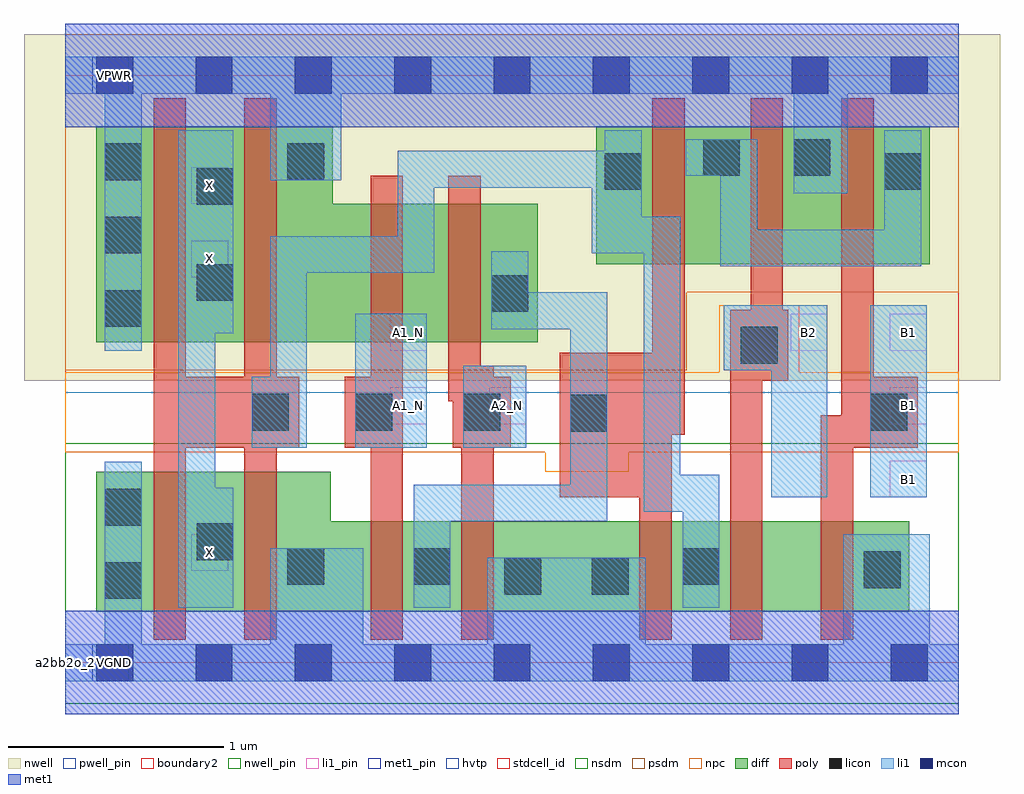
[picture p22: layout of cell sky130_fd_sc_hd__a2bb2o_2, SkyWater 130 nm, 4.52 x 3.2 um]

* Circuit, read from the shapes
.subckt sky130_fd_sc_hd__a2bb2o_2 A1_N A2_N B1 B2 VGND VNB VPB VPWR X
XM1 X n1 VGND VNB sky130_fd_pr__nfet_01v8 w=0.65 l=0.15 m=2
XM2 n2 A1_N VGND VNB sky130_fd_pr__nfet_01v8 w=0.42 l=0.15
XM3 VGND A2_N n2 VNB sky130_fd_pr__nfet_01v8 w=0.42 l=0.15
XM4 n1 n2 VGND VNB sky130_fd_pr__nfet_01v8 w=0.42 l=0.15
XM5 n3 B2 n1 VNB sky130_fd_pr__nfet_01v8 w=0.42 l=0.15
XM6 VGND B1 n3 VNB sky130_fd_pr__nfet_01v8 w=0.42 l=0.15
XM7 X n1 VPWR VPB sky130_fd_pr__pfet_01v8_hvt w=1 l=0.15 m=2
XM8 n4 A1_N VPWR VPB sky130_fd_pr__pfet_01v8_hvt w=0.64 l=0.15
XM9 n2 A2_N n4 VPB sky130_fd_pr__pfet_01v8_hvt w=0.64 l=0.15
XM10 n5 n2 n1 VPB sky130_fd_pr__pfet_01v8_hvt w=0.64 l=0.15
XM11 VPWR B2 n5 VPB sky130_fd_pr__pfet_01v8_hvt w=0.64 l=0.15
XM12 n5 B1 VPWR VPB sky130_fd_pr__pfet_01v8_hvt w=0.64 l=0.15
.ends

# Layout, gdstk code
import gdstk
lib = gdstk.Library(unit=1e-6, precision=1e-09)
def R(c, l, rs):  # rectangles x0, y0, x1, y1
    for r in rs: c.add(gdstk.rectangle(r[:2], r[2:], *l))
def A(c, l, x, y, w, h, nx, ny, dx, dy):  # array of equal rectangles
    R(c, l, [(x+i*dx, y+j*dy, x+i*dx+w, y+j*dy+h) for i in range(nx) for j in range(ny)])
def P(c, l, *ps):  # polygons
    for p in ps: c.add(gdstk.Polygon(p, *l))
nwell_pin = (64, 16)
nwell = (64, 20)
diff = (65, 20)
poly = (66, 20)
licon = (66, 44)
li1_pin = (67, 16)
li1 = (67, 20)
mcon = (67, 44)
met1_pin = (68, 16)
met1 = (68, 20)
hvtp = (78, 44)
stdcell_id = (81, 4)
nsdm = (93, 44)
psdm = (94, 20)
npc = (95, 20)
pwell_pin = (122, 16)
boundary2 = (236, 0)

sky130_fd_sc_hd__a2bb2o_ = lib.new_cell('sky130_fd_sc_hd__a2bb2o_2')
R(sky130_fd_sc_hd__a2bb2o_, nwell_pin, [(0.125,2.635,0.295,2.805)])
R(sky130_fd_sc_hd__a2bb2o_, nwell, [(-0.19,1.305,4.33,2.91)])
R(sky130_fd_sc_hd__a2bb2o_, diff, [(2.46,1.845,4.005,2.485)])
P(sky130_fd_sc_hd__a2bb2o_, diff, [(0.145,1.485),(0.145,2.485),(1.24,2.485),(1.24,2.125),(2.19,2.125),(2.19,1.485)],
  [(0.145,0.235),(0.145,0.885),(1.23,0.885),(1.23,0.655),(3.91,0.655),(3.91,0.235)])
R(sky130_fd_sc_hd__a2bb2o_, poly, [(2.72,1.055,2.87,2.615)])
P(sky130_fd_sc_hd__a2bb2o_, poly, [(2.66,0.105),(2.66,0.765),(2.29,0.765),(2.29,1.435),(2.81,1.435),(2.81,0.105)],
  [(0.41,0.105),(0.41,2.615),(0.56,2.615),(0.56,1.325),(0.83,1.325),(0.83,2.615),(0.98,2.615),(0.98,1.325),(1.085,1.325),(1.085,0.995),(0.98,0.995),(0.98,0.105),(0.83,0.105),(0.83,0.995),(0.56,0.995),(0.56,0.105)],
  [(3.5,0.105),(3.5,1.145),(3.595,1.145),(3.595,2.615),(3.745,2.615),(3.745,1.325),(3.95,1.325),(3.95,0.995),(3.65,0.995),(3.65,0.105)],
  [(3.08,0.105),(3.08,1.635),(3.175,1.635),(3.175,2.615),(3.325,2.615),(3.325,1.635),(3.35,1.635),(3.35,1.305),(3.23,1.305),(3.23,0.105)],
  [(1.835,0.105),(1.835,0.995),(1.795,0.995),(1.795,1.21),(1.775,1.21),(1.775,2.255),(1.925,2.255),(1.925,1.375),(1.985,1.375),(1.985,1.325),(2.065,1.325),(2.065,0.995),(1.985,0.995),(1.985,0.105)],
  [(1.415,0.105),(1.415,0.995),(1.295,0.995),(1.295,1.325),(1.415,1.325),(1.415,2.255),(1.565,2.255),(1.565,0.105)])
A(sky130_fd_sc_hd__a2bb2o_, licon, 0.185, 1.555, 0.17, 0.17, 1, 3, 0, 0.34)
R(sky130_fd_sc_hd__a2bb2o_, licon, [(0.185,0.295,0.355,0.465), (2.035,0.315,2.205,0.485), (2.44,0.315,2.61,0.485), (3.7,0.345,3.87,0.515), (1.03,0.36,1.2,0.53), (1.615,0.36,1.785,0.53), (2.86,0.36,3.03,0.53), (0.61,0.475,0.78,0.645), (0.185,0.635,0.355,0.805), (2.34,1.07,2.51,1.24), (0.865,1.075,1.035,1.245), (1.345,1.075,1.515,1.245), (1.845,1.075,2.015,1.245), (3.73,1.075,3.9,1.245), (3.13,1.385,3.3,1.555), (1.975,1.625,2.145,1.795), (0.61,1.675,0.78,1.845), (0.61,2.12,0.78,2.29), (2.5,2.19,2.67,2.36), (3.795,2.19,3.965,2.36), (1.03,2.235,1.2,2.405), (2.955,2.255,3.125,2.425), (3.375,2.255,3.545,2.425)])
A(sky130_fd_sc_hd__a2bb2o_, li1_pin, 3.82, 0.765, 0.17, 0.17, 1, 3, 0, 0.34)
R(sky130_fd_sc_hd__a2bb2o_, li1_pin, [(0.125,-0.085,0.295,0.085), (0.585,0.425,0.755,0.595), (1.505,1.105,1.675,1.275), (1.965,1.105,2.135,1.275), (1.505,1.445,1.675,1.615), (3.36,1.445,3.53,1.615), (0.585,1.785,0.755,1.955), (0.585,2.125,0.755,2.295), (0.125,2.635,0.295,2.805)])
R(sky130_fd_sc_hd__a2bb2o_, li1, [(3.73,0.765,3.99,1.655), (1.345,0.995,1.675,1.615), (1.845,0.995,2.135,1.375)])
P(sky130_fd_sc_hd__a2bb2o_, li1, [(0,-0.085),(0,0.085),(0.185,0.085),(0.185,0.93),(0.355,0.93),(0.355,0.085),(0.95,0.085),(0.95,0.53),(1.38,0.53),(1.38,0.085),(1.955,0.085),(1.955,0.485),(2.69,0.485),(2.69,0.085),(3.605,0.085),(3.605,0.595),(4.005,0.595),(4.005,0.085),(4.14,0.085),(4.14,-0.085)],
  [(0.185,1.445),(0.185,2.635),(0,2.635),(0,2.805),(4.14,2.805),(4.14,2.635),(3.625,2.635),(3.625,2.175),(3.375,2.175),(3.375,2.635),(1.28,2.635),(1.28,2.235),(0.95,2.235),(0.95,2.635),(0.355,2.635),(0.355,1.445)],
  [(3.035,1.835),(3.035,2.255),(2.875,2.255),(2.875,2.425),(3.205,2.425),(3.205,2.005),(3.795,2.005),(3.795,2.465),(3.965,2.465),(3.965,1.835)],
  [(2.86,0.255),(2.86,0.7),(2.68,0.7),(2.68,1.895),(2.44,1.895),(2.44,2.2),(1.71,2.2),(1.71,1.805),(1.12,1.805),(1.12,0.995),(0.865,0.995),(0.865,1.325),(0.95,1.325),(0.95,1.975),(1.54,1.975),(1.54,2.37),(2.5,2.37),(2.5,2.465),(2.67,2.465),(2.67,2.065),(2.85,2.065),(2.85,0.87),(3.03,0.87),(3.03,0.255)],
  [(1.615,0.255),(1.615,0.825),(2.34,0.825),(2.34,1.545),(1.975,1.545),(1.975,1.905),(2.145,1.905),(2.145,1.715),(2.51,1.715),(2.51,0.655),(1.785,0.655),(1.785,0.255)],
  [(0.525,0.255),(0.525,2.465),(0.78,2.465),(0.78,1.525),(0.695,1.525),(0.695,0.81),(0.78,0.81),(0.78,0.255)],
  [(3.27,0.765),(3.27,1.355),(3.05,1.355),(3.05,1.655),(3.53,1.655),(3.53,0.765)])
A(sky130_fd_sc_hd__a2bb2o_, mcon, 0.145, -0.085, 0.17, 0.17, 9, 2, 0.46, 2.72)
R(sky130_fd_sc_hd__a2bb2o_, met1_pin, [(0.125,-0.085,0.295,0.085), (0.125,2.635,0.295,2.805)])
R(sky130_fd_sc_hd__a2bb2o_, hvtp, [(0,1.25,4.14,2.72)])
R(sky130_fd_sc_hd__a2bb2o_, stdcell_id, [(0,0,4.14,2.72)])
R(sky130_fd_sc_hd__a2bb2o_, nsdm, [(0,-0.19,4.14,1.015)])
P(sky130_fd_sc_hd__a2bb2o_, psdm, [(0,1.355),(0,2.91),(4.14,2.91),(4.14,1.715),(2.88,1.715),(2.88,1.355)])
P(sky130_fd_sc_hd__a2bb2o_, npc, [(2.225,0.885),(2.225,0.975),(0,0.975),(0,1.345),(3.03,1.345),(3.03,1.655),(3.4,1.655),(3.4,1.345),(4.14,1.345),(4.14,0.975),(2.61,0.975),(2.61,0.885)])
R(sky130_fd_sc_hd__a2bb2o_, pwell_pin, [(0.125,-0.085,0.295,0.085)])
R(sky130_fd_sc_hd__a2bb2o_, boundary2, [(0,0,4.14,2.72)])
sky130_fd_sc_hd__a2bb2o_.add(gdstk.FlexPath([(0,2.72),(4.14,2.72)], 0.48, ends="flush", simple_path=True, layer=68, datatype=20))  # met1
sky130_fd_sc_hd__a2bb2o_.add(gdstk.FlexPath([(0,0),(4.14,0)], 0.48, ends="flush", simple_path=True, layer=68, datatype=20))  # met1
sky130_fd_sc_hd__a2bb2o_.add(gdstk.Label('VPWR', (0.23,2.72), layer=67, texttype=5))
sky130_fd_sc_hd__a2bb2o_.add(gdstk.Label('VGND', (0.23,0), layer=67, texttype=5))
sky130_fd_sc_hd__a2bb2o_.add(gdstk.Label('B1', (3.905,1.19), layer=67, texttype=5))
sky130_fd_sc_hd__a2bb2o_.add(gdstk.Label('B1', (3.905,1.53), layer=67, texttype=5))
sky130_fd_sc_hd__a2bb2o_.add(gdstk.Label('B1', (3.905,0.85), layer=67, texttype=5))
sky130_fd_sc_hd__a2bb2o_.add(gdstk.Label('A1_N', (1.59,1.19), layer=67, texttype=5))
sky130_fd_sc_hd__a2bb2o_.add(gdstk.Label('A2_N', (2.05,1.19), layer=67, texttype=5))
sky130_fd_sc_hd__a2bb2o_.add(gdstk.Label('X', (0.67,0.51), layer=67, texttype=5))
sky130_fd_sc_hd__a2bb2o_.add(gdstk.Label('B2', (3.445,1.53), layer=67, texttype=5))
sky130_fd_sc_hd__a2bb2o_.add(gdstk.Label('A1_N', (1.59,1.53), layer=67, texttype=5))
sky130_fd_sc_hd__a2bb2o_.add(gdstk.Label('X', (0.67,2.21), layer=67, texttype=5))
sky130_fd_sc_hd__a2bb2o_.add(gdstk.Label('X', (0.67,1.87), layer=67, texttype=5))
sky130_fd_sc_hd__a2bb2o_.add(gdstk.Label('VGND', (0.23,0), layer=68, texttype=5))
sky130_fd_sc_hd__a2bb2o_.add(gdstk.Label('VPWR', (0.23,2.72), layer=68, texttype=5))
sky130_fd_sc_hd__a2bb2o_.add(gdstk.Label('VPB', (0.23,2.72), layer=64, texttype=5))
sky130_fd_sc_hd__a2bb2o_.add(gdstk.Label('VNB', (0.23,0), layer=64, texttype=59))
sky130_fd_sc_hd__a2bb2o_.add(gdstk.Label('a2bb2o_2', (0,0), layer=83, texttype=44))

lib.write_gds('sky130_fd_sc_hd__a2bb2o_2.gds')
